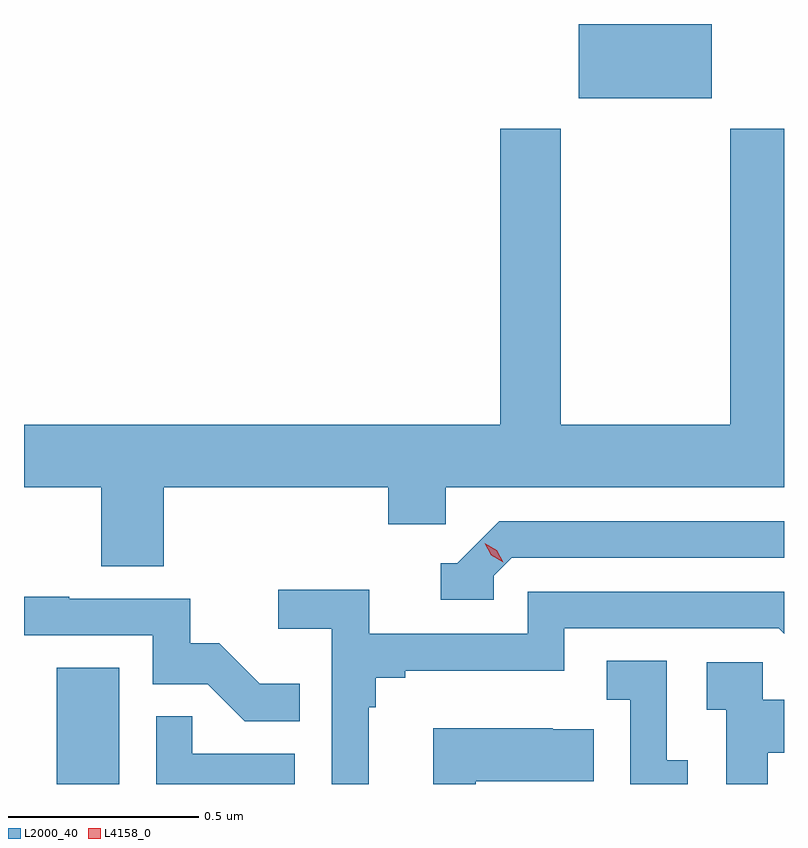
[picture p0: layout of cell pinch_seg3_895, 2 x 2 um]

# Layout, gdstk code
import gdstk
lib = gdstk.Library(unit=1e-6, precision=1e-09)
def R(c, l, rs):  # rectangles x0, y0, x1, y1
    for r in rs: c.add(gdstk.rectangle(r[:2], r[2:], *l))
def P(c, l, *ps):  # polygons
    for p in ps: c.add(gdstk.Polygon(p, *l))
L2000_40 = (2000, 40)
L4158_0 = (4158, 0)

pinch_seg3_895 = lib.new_cell('pinch_seg3_895')
R(pinch_seg3_895, L2000_40, [(880.604,700.135,880.768,700.441), (881.978,701.939,882.328,702.135)])
P(pinch_seg3_895, L2000_40, [(880.886,700.916),(881.477,700.916),(881.477,700.818),(881.628,700.818),(881.628,700.916),(882.518,700.916),(882.518,701.86),(882.376,701.86),(882.376,701.08),(881.931,701.08),(881.931,701.86),(881.771,701.86),(881.771,701.08),(880.518,701.08),(880.518,700.916),(880.721,700.916),(880.721,700.708),(880.886,700.708)],
  [(881.754,700.683),(881.802,700.731),(882.518,700.731),(882.518,700.827),(881.769,700.827),(881.658,700.716),(881.615,700.716),(881.615,700.62),(881.754,700.62)],
  [(881.425,700.337),(881.444,700.337),(881.444,700.414),(881.521,700.414),(881.521,700.433),(881.94,700.433),(881.94,700.545),(882.504,700.545),(882.518,700.531),(882.518,700.641),(881.844,700.641),(881.844,700.53),(881.426,700.53),(881.426,700.646),(881.187,700.646),(881.187,700.544),(881.328,700.544),(881.328,700.135),(881.425,700.135)],
  [(881.243,700.399),(881.139,700.399),(881.032,700.506),(880.956,700.506),(880.956,700.623),(880.637,700.623),(880.637,700.628),(880.518,700.628),(880.518,700.527),(880.857,700.527),(880.857,700.398),(881.001,700.398),(881.099,700.3),(881.243,700.3)],
  [(882.265,700.197),(882.21,700.197),(882.21,700.46),(882.051,700.46),(882.051,700.357),(882.114,700.357),(882.114,700.135),(882.265,700.135)],
  [(882.475,700.217),(882.518,700.217),(882.518,700.357),(882.462,700.357),(882.462,700.455),(882.315,700.455),(882.315,700.331),(882.366,700.331),(882.366,700.135),(882.475,700.135)],
  [(881.23,700.215),(880.961,700.215),(880.961,700.313),(880.866,700.313),(880.866,700.135),(881.23,700.135)],
  [(881.707,700.142),(882.017,700.142),(882.017,700.279),(881.909,700.279),(881.909,700.282),(881.595,700.282),(881.595,700.135),(881.707,700.135)])
P(pinch_seg3_895, L4158_0, [(881.779,700.718),(881.748,700.737),(881.731,700.769),(881.731,700.769),(881.731,700.769),(881.762,700.75),(881.779,700.718),(881.779,700.718)])

lib.write_gds('pinch_seg3_895.gds')
